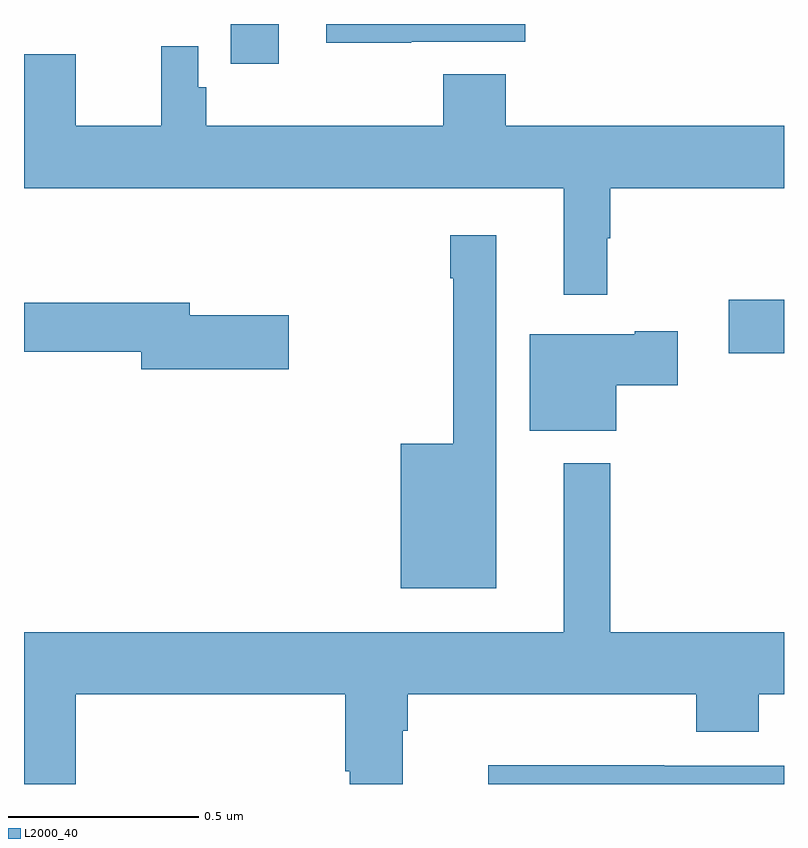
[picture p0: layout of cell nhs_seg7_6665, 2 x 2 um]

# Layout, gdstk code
import gdstk
lib = gdstk.Library(unit=1e-6, precision=1e-09)
def R(c, l, rs):  # rectangles x0, y0, x1, y1
    for r in rs: c.add(gdstk.rectangle(r[:2], r[2:], *l))
def P(c, l, *ps):  # polygons
    for p in ps: c.add(gdstk.Polygon(p, *l))
L2000_40 = (2000, 40)

nhs_seg7_6665 = lib.new_cell('nhs_seg7_6665')
R(nhs_seg7_6665, L2000_40, [(202.854,1048.133,203,1048.275), (201.544,1048.896,201.67,1049)])
P(nhs_seg7_6665, L2000_40, [(202.019,1048.953),(202.319,1048.953),(202.319,1049),(201.795,1049),(201.795,1048.951),(202.019,1048.951)],
  [(201.361,1048.942),(201.361,1048.732),(201.136,1048.732),(201.136,1048.921),(201,1048.921),(201,1048.568),(202.421,1048.568),(202.421,1048.287),(202.535,1048.287),(202.535,1048.436),(202.543,1048.436),(202.543,1048.568),(203,1048.568),(203,1048.732),(202.268,1048.732),(202.268,1048.868),(202.103,1048.868),(202.103,1048.732),(201.479,1048.732),(201.479,1048.833),(201.459,1048.833),(201.459,1048.942)],
  [(202.243,1048.444),(202.122,1048.444),(202.122,1048.331),(202.129,1048.331),(202.129,1047.895),(201.992,1047.895),(201.992,1047.515),(202.243,1047.515)],
  [(201.697,1048.233),(201.436,1048.233),(201.436,1048.267),(201,1048.267),(201,1048.138),(201.308,1048.138),(201.308,1048.091),(201.697,1048.091)],
  [(202.558,1048.049),(202.72,1048.049),(202.72,1048.191),(202.607,1048.191),(202.607,1048.183),(202.331,1048.183),(202.331,1047.929),(202.558,1047.929)],
  [(201.136,1047.236),(201.845,1047.236),(201.845,1047.034),(201.857,1047.034),(201.857,1047),(201.997,1047),(201.997,1047.14),(202.01,1047.14),(202.01,1047.236),(202.769,1047.236),(202.769,1047.137),(202.934,1047.137),(202.934,1047.236),(203,1047.236),(203,1047.4),(202.543,1047.4),(202.543,1047.844),(202.421,1047.844),(202.421,1047.4),(201,1047.4),(201,1047),(201.136,1047)],
  [(203,1047.048),(202.685,1047.048),(202.685,1047.05),(202.222,1047.05),(202.222,1047),(203,1047)])

lib.write_gds('nhs_seg7_6665.gds')
